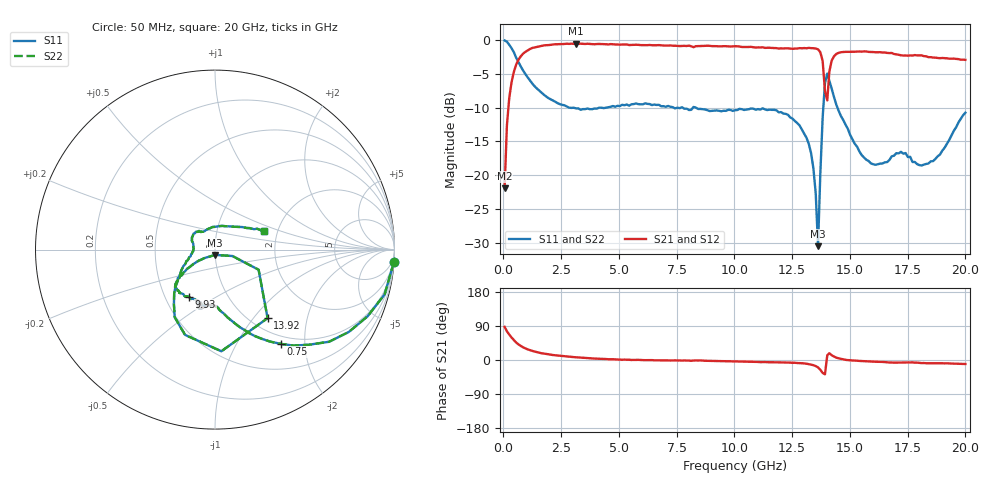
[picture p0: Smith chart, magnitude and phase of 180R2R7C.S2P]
!  American Technical Ceramics  Date:  3/13/98
!  One Norden Lane
!  Huntington Station,  NY.  11746-2102
!  Tel:  (516) 547-5700  Fax:  (516) 547-5748
!  Part Number  180r2r7c
!  Description: Porcelain, High Q, Low ESR
!  Application: Bypass, Coupling, Timing, Feedback
!  Tuning, Impedance Match, Blocking
# GHZ S DB R 50
! Freq  |S11|  S11 Ph  |S21|  S21 Ph  |S12|  S12 Ph  |S22|  S22 Ph
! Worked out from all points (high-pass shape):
!   201 points, 50 MHz to 20 GHz, reference 50 ohm
!   highest |S21| = -0.48 dB at 3.14 GHz (marker M1); lowest = -22.0 dB at 50 MHz (marker M2)
!   |S21| within 3 dB of the highest: 566.2 MHz to 13.83 GHz (13.26 GHz wide, 184 % of centre); 14.18 GHz to end of sweep
!   lowest |S11| = -30.5 dB at 13.62 GHz (marker M3), VSWR 1.06, Z = 50 - j2.97 ohm
!   |S11| at or under -10 dB: 3.05 GHz to 4.133 GHz (1.083 GHz wide, 30.2 % of centre); 8.34 GHz to 13.85 GHz (5.508 GHz wide, 49.7 % of centre); 14.46 GHz to end of sweep (the widest 3 of 8)
!   |S22| runs from -30.5 to 0.0 dB; largest |S21 - S12| = 0
!   S11 on the Smith chart (normalised r, x): 50 MHz: 0, -28; 750 MHz: 0.87, -1.55; 9.93 GHz: 0.66, -0.38; 13.92 GHz: 1.19, -1.18; 20 GHz: 1.69, +0.38
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0.05  -0.01 -4.1  -21.97 87.3  -21.97 87.3  -0.01 -4.1
0.15  -0.20 -14.8  -12.58 75.7  -12.58 75.7  -0.20 -14.8
0.25  -0.65 -23.6  -8.57 67.1  -8.57 67.1  -0.65 -23.6
0.75  -3.87 -55.1  -2.36 37.1  -2.36 37.1  -3.87 -55.1
1.45  -7.15 -73.6  -0.97 20.7  -0.97 20.7  -7.15 -73.6
3.14  -10.09 -90.0  -0.48 7.2  -0.48 7.2  -10.09 -90.0
3.44  -10.20 -92.8  -0.51 6.0  -0.51 6.0  -10.20 -92.8
6.73  -9.56 -106.2  -0.70 -1.1  -0.70 -1.1  -9.56 -106.2
9.93  -10.47 -118.9  -0.89 -3.6  -0.89 -3.6  -10.47 -118.9
10.03  -10.36 -120.7  -0.86 -3.8  -0.86 -3.8  -10.36 -120.7
12.32  -11.05 -140.1  -1.18 -7.0  -1.18 -7.0  -11.05 -140.1
13.12  -14.45 -145.4  -1.17 -9.8  -1.17 -9.8  -14.45 -145.4
13.42  -19.02 -145.8  -1.16 -13.7  -1.16 -13.7  -19.02 -145.8
13.62  -30.54 -88.8  -1.32 -19.5  -1.32 -19.5  -30.54 -88.8
13.82  -11.45 -24.8  -3.05 -34.0  -3.05 -34.0  -11.45 -24.8
13.92  -6.35 -52.5  -7.52 -37.7  -7.52 -37.7  -6.35 -52.5
14.02  -4.92 -86.4  -8.90 12.5  -8.90 12.5  -4.92 -86.4
14.21  -7.16 -120.8  -3.00 12.7  -3.00 12.7  -7.16 -120.8
15.51  -17.02 -164.8  -1.67 -2.8  -1.67 -2.8  -17.02 -164.8
16.71  -17.75 162.5  -1.88 -6.7  -1.88 -6.7  -17.75 162.5
18.6  -17.92 88.6  -2.55 -8.5  -2.55 -8.5  -17.92 88.6
20  -10.73 20.6  -2.89 -10.6  -2.89 -10.6  -10.73 20.6
